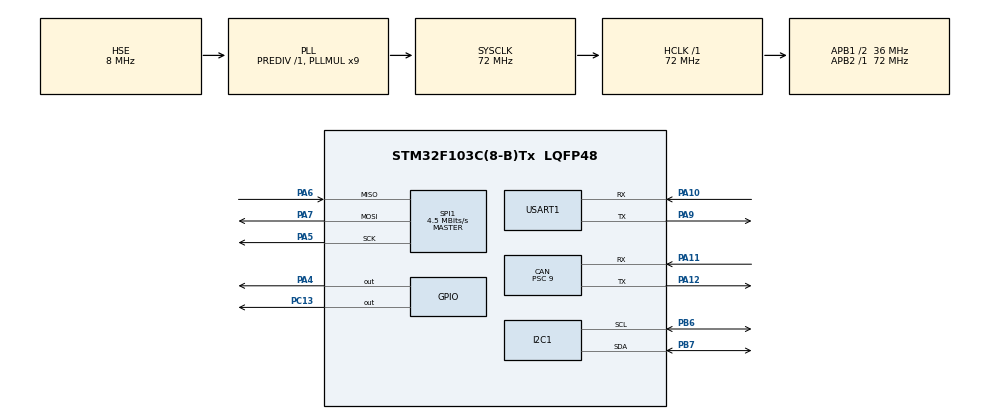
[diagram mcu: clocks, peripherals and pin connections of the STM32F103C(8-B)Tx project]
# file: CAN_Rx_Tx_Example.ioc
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CAN.BS1=CAN_BS1_3TQ
CAN.BS2=CAN_BS2_4TQ
CAN.CalculateBaudRate=500000
CAN.CalculateTimeBit=2000
CAN.CalculateTimeQuantum=250.0
CAN.Prescaler=9
FREERTOS.Tasks01=defaultTask,0,256,StartDefaultTask,Default,NULL,Dynamic,NULL,NULL;myTask02,-2,128,StartTask02,Default,NULL,Dynamic,NULL,NULL;myTask03,-1,128,StartTask03,Default,NULL,Dynamic,NULL,NULL
FREERTOS.configUSE_NEWLIB_REENTRANT=1
I2C1.I2C_Mode=I2C_Fast
Mcu.Family=STM32F1
Mcu.Name=STM32F103C(8-B)Tx
Mcu.Package=LQFP48
NVIC.PriorityGroup=NVIC_PRIORITYGROUP_4
NVIC.TIM3_IRQn=true\:15\:0\:false\:false\:true\:false\:false\:true\:true
NVIC.TimeBase=TIM3_IRQn
NVIC.TimeBaseIP=TIM3
NVIC.USB_LP_CAN1_RX0_IRQn=true\:5\:0\:false\:false\:true\:true\:true\:true\:true
PA10.Mode=Asynchronous
PA10.Signal=USART1_RX
PA11.Mode=CAN_Activate
PA11.Signal=CAN_RX
PA12.Mode=CAN_Activate
PA12.Signal=CAN_TX
PA13.Mode=Serial_Wire
PA13.Signal=SYS_JTMS-SWDIO
PA14.Mode=Serial_Wire
PA14.Signal=SYS_JTCK-SWCLK
PA4.Signal=GPIO_Output
PA5.Mode=Full_Duplex_Master
PA5.Signal=SPI1_SCK
PA6.Mode=Full_Duplex_Master
PA6.Signal=SPI1_MISO
PA7.Mode=Full_Duplex_Master
PA7.Signal=SPI1_MOSI
PA9.Mode=Asynchronous
PA9.Signal=USART1_TX
PB6.Mode=I2C
PB6.Signal=I2C1_SCL
PB7.Mode=I2C
PB7.Signal=I2C1_SDA
PC13-TAMPER-RTC.GPIO_Speed=GPIO_SPEED_FREQ_HIGH
PC13-TAMPER-RTC.PinState=GPIO_PIN_SET
PC13-TAMPER-RTC.Signal=GPIO_Output
PD0-OSC_IN.Mode=HSE-External-Oscillator
PD0-OSC_IN.Signal=RCC_OSC_IN
PD1-OSC_OUT.Mode=HSE-External-Oscillator
PD1-OSC_OUT.Signal=RCC_OSC_OUT
ProjectManager.HeapSize=0x200
ProjectManager.StackSize=0x400
ProjectManager.TargetToolchain=STM32CubeIDE
RCC.AHBFreq_Value=72000000
RCC.APB1CLKDivider=RCC_HCLK_DIV2
RCC.APB1Freq_Value=36000000
RCC.APB1TimFreq_Value=72000000
RCC.APB2Freq_Value=72000000
RCC.APB2TimFreq_Value=72000000
RCC.HCLKFreq_Value=72000000
RCC.PLLMUL=RCC_PLL_MUL9
RCC.PLLSourceVirtual=RCC_PLLSOURCE_HSE
RCC.SYSCLKFreq_VALUE=72000000
RCC.SYSCLKSource=RCC_SYSCLKSOURCE_PLLCLK
RCC.USBFreq_Value=72000000
SPI1.BaudRatePrescaler=SPI_BAUDRATEPRESCALER_16
SPI1.CalculateBaudRate=4.5 MBits/s
SPI1.Direction=SPI_DIRECTION_2LINES
SPI1.Mode=SPI_MODE_MASTER
SPI1.VirtualType=VM_MASTER
USART1.VirtualMode=VM_ASYNC
VP_FREERTOS_VS_CMSIS_V1.Mode=CMSIS_V1
VP_SYS_VS_tim3.Mode=TIM3
board=custom

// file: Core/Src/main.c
/* USER CODE BEGIN Header */
/**
  ******************************************************************************
  * @file           : main.c
  * @brief          : Main program body
  ******************************************************************************
  * @attention
  *
  * <h2><center>&copy; Copyright (c) 2020 STMicroelectronics.
  * All rights reserved.</center></h2>
  *
  * This software component is licensed by ST under BSD 3-Clause license,
  * the "License"; You may not use this file except in compliance with the
  * License. You may obtain a copy of the License at:
  *                        opensource.org/licenses/BSD-3-Clause
  *
  ******************************************************************************
  */
/* USER CODE END Header */
#include "main.h"
#include "cmsis_os.h"
#include "can.h"
#include "i2c.h"
#include "spi.h"
#include "usart.h"
#include "gpio.h"

void SystemClock_Config(void);
void MX_FREERTOS_Init(void);

/* USER CODE BEGIN 0 */
int _write(int file, char *ptr, int len)
{
  HAL_UART_Transmit(&huart1, (uint8_t*)ptr, len, HAL_MAX_DELAY);
  return len;
}
/* USER CODE END 0 */

int main(void)
{

  /* MCU Configuration--------------------------------------------------------*/

  /* Reset of all peripherals, Initializes the Flash interface and the Systick. */
  HAL_Init();

  /* Configure the system clock */
  SystemClock_Config();

  /* Initialize all configured peripherals */
  MX_GPIO_Init();
  MX_CAN_Init();
  MX_I2C1_Init();
  MX_USART1_UART_Init();
  MX_SPI1_Init();

  /* Call init function for freertos objects (in cmsis_os2.c) */
  MX_FREERTOS_Init();

  /* Start scheduler */
  osKernelStart();

  /* We should never get here as control is now taken by the scheduler */

  /* Infinite loop */
  while (1)
  {

  }
}

void SystemClock_Config(void)
{
  RCC_OscInitTypeDef RCC_OscInitStruct = {0};
  RCC_ClkInitTypeDef RCC_ClkInitStruct = {0};

  /** Initializes the RCC Oscillators according to the specified parameters
  * in the RCC_OscInitTypeDef structure.
  */
  RCC_OscInitStruct.OscillatorType = RCC_OSCILLATORTYPE_HSE;
  RCC_OscInitStruct.HSEState = RCC_HSE_ON;
  RCC_OscInitStruct.HSEPredivValue = RCC_HSE_PREDIV_DIV1;
  RCC_OscInitStruct.HSIState = RCC_HSI_ON;
  RCC_OscInitStruct.PLL.PLLState = RCC_PLL_ON;
  RCC_OscInitStruct.PLL.PLLSource = RCC_PLLSOURCE_HSE;
  RCC_OscInitStruct.PLL.PLLMUL = RCC_PLL_MUL9;
  if (HAL_RCC_OscConfig(&RCC_OscInitStruct) != HAL_OK)
  {
    Error_Handler();
  }

  /** Initializes the CPU, AHB and APB buses clocks
  */
  RCC_ClkInitStruct.ClockType = RCC_CLOCKTYPE_HCLK|RCC_CLOCKTYPE_SYSCLK
                              |RCC_CLOCKTYPE_PCLK1|RCC_CLOCKTYPE_PCLK2;
  RCC_ClkInitStruct.SYSCLKSource = RCC_SYSCLKSOURCE_PLLCLK;
  RCC_ClkInitStruct.AHBCLKDivider = RCC_SYSCLK_DIV1;
  RCC_ClkInitStruct.APB1CLKDivider = RCC_HCLK_DIV2;
  RCC_ClkInitStruct.APB2CLKDivider = RCC_HCLK_DIV1;

  if (HAL_RCC_ClockConfig(&RCC_ClkInitStruct, FLASH_LATENCY_2) != HAL_OK)
  {
    Error_Handler();
  }
}

void HAL_TIM_PeriodElapsedCallback(TIM_HandleTypeDef *htim)
{
  if (htim->Instance == TIM3) {
    HAL_IncTick();
  }
}

void Error_Handler(void)
{
}

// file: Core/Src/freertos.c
/* USER CODE BEGIN Header */
/**
  ******************************************************************************
  * File Name          : freertos.c
  * Description        : Code for freertos applications
  ******************************************************************************
  * @attention
  *
  * Copyright (c) 2024 STMicroelectronics.
  * All rights reserved.
  *
  * This software is licensed under terms that can be found in the LICENSE file
  * in the root directory of this software component.
  * If no LICENSE file comes with this software, it is provided AS-IS.
  *
  ******************************************************************************
  */
/* USER CODE END Header */

#include "FreeRTOS.h"
#include "task.h"
#include "main.h"
#include "cmsis_os.h"

/* USER CODE BEGIN Includes */
#include <stdio.h>
#include "veml7700.h"
#include "w25q.h"
#include "Z_FLASH_W25QXXX.h"
/* USER CODE END Includes */

/* USER CODE BEGIN PD */
#define VEML7700_I2C_ADDRESS    0x10
/* USER CODE END PD */

/* USER CODE BEGIN Variables */

extern I2C_HandleTypeDef hi2c1;
extern CAN_HandleTypeDef hcan;
extern SPI_HandleTypeDef hspi1;

CAN_RxHeaderTypeDef rxHeader; //CAN Bus Transmit Header
CAN_TxHeaderTypeDef txHeader; //CAN Bus Receive Header
uint8_t canRX[8] = {0,0,0,0,0,0,0,0};  //CAN Bus Receive Buffer
CAN_FilterTypeDef canfil; //CAN Bus Filter
uint32_t canMailbox; //CAN Bus Mail box variable

/* USER CODE END Variables */
osThreadId defaultTaskHandle;
osThreadId myTask02Handle;
osThreadId myTask03Handle;

void StartDefaultTask(void const * argument);
void StartTask02(void const * argument);
void StartTask03(void const * argument);

void MX_FREERTOS_Init(void); /* (MISRA C 2004 rule 8.1) */

/* GetIdleTaskMemory prototype (linked to static allocation support) */
void vApplicationGetIdleTaskMemory( StaticTask_t **ppxIdleTaskTCBBuffer, StackType_t **ppxIdleTaskStackBuffer, uint32_t *pulIdleTaskStackSize );

/* USER CODE BEGIN GET_IDLE_TASK_MEMORY */
static StaticTask_t xIdleTaskTCBBuffer;
static StackType_t xIdleStack[configMINIMAL_STACK_SIZE];

void vApplicationGetIdleTaskMemory( StaticTask_t **ppxIdleTaskTCBBuffer, StackType_t **ppxIdleTaskStackBuffer, uint32_t *pulIdleTaskStackSize )
{
  *ppxIdleTaskTCBBuffer = &xIdleTaskTCBBuffer;
  *ppxIdleTaskStackBuffer = &xIdleStack[0];
  *pulIdleTaskStackSize = configMINIMAL_STACK_SIZE;
  /* place for user code */
}
/* USER CODE END GET_IDLE_TASK_MEMORY */

void MX_FREERTOS_Init(void) {

  /* Create the thread(s) */
  /* definition and creation of defaultTask */
  osThreadDef(defaultTask, StartDefaultTask, osPriorityNormal, 0, 256);
  defaultTaskHandle = osThreadCreate(osThread(defaultTask), NULL);

  /* definition and creation of myTask02 */
  osThreadDef(myTask02, StartTask02, osPriorityLow, 0, 128);
  myTask02Handle = osThreadCreate(osThread(myTask02), NULL);

  /* definition and creation of myTask03 */
  osThreadDef(myTask03, StartTask03, osPriorityBelowNormal, 0, 128);
  myTask03Handle = osThreadCreate(osThread(myTask03), NULL);

}

void StartDefaultTask(void const * argument)
{
  /* USER CODE BEGIN StartDefaultTask */

  canfil.FilterBank = 0;
  canfil.FilterMode = CAN_FILTERMODE_IDMASK;
  canfil.FilterFIFOAssignment = CAN_RX_FIFO0;
  canfil.FilterIdHigh = 0;
  canfil.FilterIdLow = 0;
  canfil.FilterMaskIdHigh = 0;
  canfil.FilterMaskIdLow = 0;
  canfil.FilterScale = CAN_FILTERSCALE_32BIT;
  canfil.FilterActivation = ENABLE;
  canfil.SlaveStartFilterBank = 14;

  txHeader.DLC = 8;
  txHeader.IDE = CAN_ID_STD;
  txHeader.RTR = CAN_RTR_DATA;
  txHeader.StdId = 0x050;
  //txHeader.ExtId = 0x02;
  txHeader.TransmitGlobalTime = DISABLE;

  HAL_CAN_ConfigFilter(&hcan,&canfil);
  HAL_CAN_Start(&hcan);
  HAL_CAN_ActivateNotification(&hcan,CAN_IT_RX_FIFO0_MSG_PENDING);

  /* Infinite loop */
  for(;;)
  {
	  uint8_t csend[] = {0x01,0x02,0x03,0x04,0x05,0x06,0x07,0x08};
	  HAL_CAN_AddTxMessage(&hcan,&txHeader,csend,&canMailbox);

	  //HAL_GPIO_TogglePin(GPIOC, GPIO_PIN_13);

	  osDelay(1000);
  }
  /* USER CODE END StartDefaultTask */
}

void StartTask02(void const * argument)
{
  /* USER CODE BEGIN StartTask02 */

	  // Init / power on sensor
	  veml7700 veml;
	  veml7700_init(&veml, &hi2c1, VEML7700_I2C_ADDRESS);
	  veml7700_power_on(&veml);
	  veml7700_set_als_gain(&veml,REG_ALS_CONF_GAIN_1_4 );
	  veml7700_set_als_integration_time(&veml,REG_ALS_CONF_IT800 );

	  while(1){
		  uint16_t als = veml7700_read_als(&veml);
		  uint16_t white = veml7700_read_white(&veml);
		  uint16_t id= veml7700_getID(&veml);
		  uint16_t cal_als= als * (veml.resolution);

		  printf("cal_als %d\n", cal_als);
		  printf("white %d\n", white);
		  printf("id %x\n", id);

		  if(cal_als <100){
			  veml7700_set_als_gain(&veml,REG_ALS_CONF_GAIN_2 );
			  veml7700_set_als_integration_time(&veml,REG_ALS_CONF_IT800 );
			  printf("Change : g2,it800\n");
		  }
		  else if(cal_als > 1000 ){
			  veml7700_set_als_gain(&veml,REG_ALS_CONF_GAIN_1_8 );
			  veml7700_set_als_integration_time(&veml,REG_ALS_CONF_IT800 );
			  printf("Change : g1_8,it800\n");
		  }
		  else{
			  veml7700_set_als_gain(&veml,REG_ALS_CONF_GAIN_1_4 );
			  veml7700_set_als_integration_time(&veml,REG_ALS_CONF_IT800 );
			  printf("Change : g1_4,it800\n");
		  }

		  osDelay(1000);
	  }

	  // VEML7700 constantly measuring values, so turn it off to save power
	  veml7700_shutdown(&veml);

  /* Infinite loop */

  for(;;)
  {
    osDelay(1);
  }
  /* USER CODE END StartTask02 */
}

void StartTask03(void const * argument)
{
  /* USER CODE BEGIN StartTask03 */
	uint8_t uniqueID[8];
	uint8_t writeData[8]={00,01,02,03,04,05,06,07};
	Flash_Init();
	/* Infinite loop */
  for(;;)
  {
	  Flash_Reset();
	  Flash_ReadUniqueID(uniqueID);
	  printf("unique id = ");
	  for(uint8_t i=0; i<8;i++){
		  printf(" %x ",uniqueID[i]);
	  }
	  printf("\n");

	  printf("power-down id = %04x\n",Flash_ReadDevID());
	  printf("id = %04x\n",Flash_ReadManufactutrerAndDevID());
	  printf("jedec id = %04lx\n",Flash_ReadJedecID());

	  Flash_Write(0x00,writeData,8 );
	  Flash_Read(0x00,uniqueID,8);
	  printf("Flash_Read = ");
	  for(uint8_t i=0; i<8;i++){
		  printf(" %x ",uniqueID[i]);
	  }
	  printf("\n");
	  osDelay(1500);
  }
  /* USER CODE END StartTask03 */
}

/* USER CODE BEGIN Application */
void HAL_CAN_RxFifo0MsgPendingCallback(CAN_HandleTypeDef *hcan1)
{
	HAL_CAN_GetRxMessage(hcan1, CAN_RX_FIFO0, &rxHeader, canRX);
	//HAL_GPIO_TogglePin(GPIOA, GPIO_PIN_3);

	if (rxHeader.StdId == 0x34) {
		HAL_GPIO_TogglePin(GPIOC, GPIO_PIN_13);
	}

}
/* USER CODE END Application */
